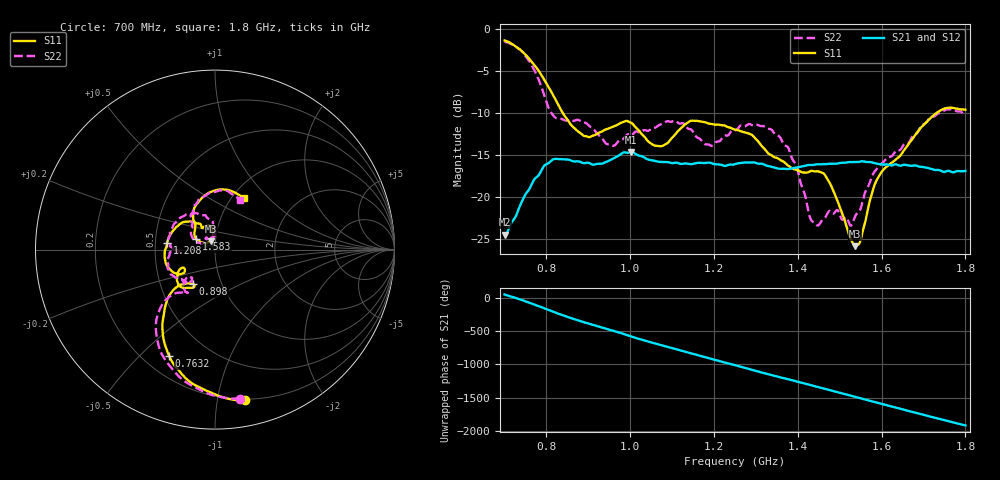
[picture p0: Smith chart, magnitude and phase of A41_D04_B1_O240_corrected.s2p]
! Created with skrf 1.9.0 (http://scikit-rf.org).
# Hz S RI R 50.0
!freq ReS11 ImS11 ReS21 ImS21 ReS12 ImS12 ReS22 ImS22
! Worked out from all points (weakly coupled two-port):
!   1601 points, 700 MHz to 1.8 GHz, reference 50 ohm
!   highest |S21| = -14.66 dB at 1.002 GHz (marker M1); lowest = -24.5 dB at 700 MHz (marker M2)
!   lowest |S11| = -25.9 dB at 1.536 GHz (marker M3), VSWR 1.11, Z = 47.7 + j4.38 ohm
!   |S11| at or under -10 dB: 838.7 MHz to 1.731 GHz (891.9 MHz wide, 69.4 % of centre)
!   |S22| runs from -23.5 to -1.5 dB; largest |S21 - S12| = 0.0034
!   S11 on the Smith chart (normalised r, x): 700 MHz: 0.19, -1.20; 763.2 MHz: 0.30, -0.61; 898 MHz: 0.73, -0.30; 1.208 GHz: 0.58, +0.05; 1.583 GHz: 0.81, +0.09; 1.8 GHz: 1.13, +0.73
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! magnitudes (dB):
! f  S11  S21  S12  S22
! 700 MHz  -1.3  -24.5  -24.3  -1.5
! 763.2 MHz  -3.8  -18.7  -18.7  -4.2
! 816.9 MHz  -7.9  -15.5  -15.6  -10.3
! 883.6 MHz  -12.5  -15.9  -15.8  -11.0
! 898 MHz  -12.8  -15.9  -16.0  -11.4
! 956.4 MHz  -11.7  -15.5  -15.5  -13.9
! 1.002 GHz  -11.2  -14.7  -14.8  -12.7
! 1.067 GHz  -14.0  -15.8  -15.8  -11.5
! 1.143 GHz  -11.0  -16.1  -16.1  -11.9
! 1.208 GHz  -11.4  -16.1  -16.2  -13.4
! 1.25 GHz  -12.0  -16.1  -16.0  -12.0
! 1.303 GHz  -13.3  -16.0  -15.9  -11.4
! 1.357 GHz  -15.6  -16.7  -16.6  -12.8
! 1.396 GHz  -16.8  -16.5  -16.5  -16.2
! 1.434 GHz  -16.9  -16.2  -16.2  -22.9
! 1.472 GHz  -18.0  -16.1  -16.1  -21.9
! 1.536 GHz  -25.9  -15.9  -15.9  -22.4
! 1.55 GHz  -25.2  -15.8  -15.8  -21.4
! 1.583 GHz  -18.6  -16.0  -16.0  -17.0
! 1.617 GHz  -16.2  -16.2  -16.2  -15.3
! 1.731 GHz  -10.0  -16.8  -16.8  -10.2
! 1.8 GHz  -9.6  -16.9  -16.9  -10.2
